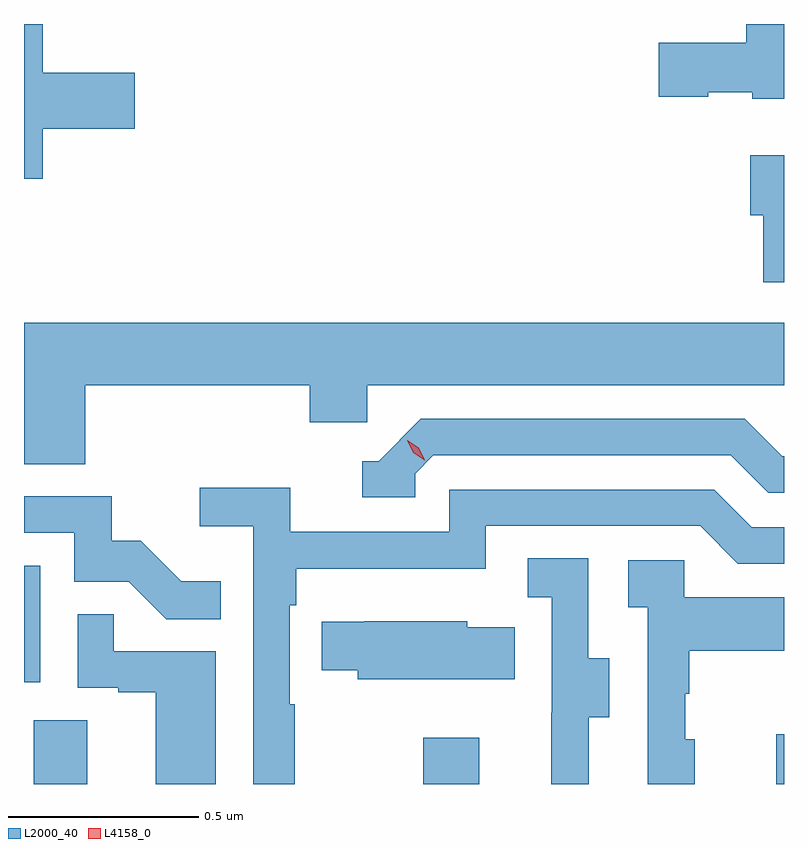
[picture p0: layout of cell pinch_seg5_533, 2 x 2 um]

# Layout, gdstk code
import gdstk
lib = gdstk.Library(unit=1e-6, precision=1e-09)
def R(c, l, rs):  # rectangles x0, y0, x1, y1
    for r in rs: c.add(gdstk.rectangle(r[:2], r[2:], *l))
def P(c, l, *ps):  # polygons
    for p in ps: c.add(gdstk.Polygon(p, *l))
L2000_40 = (2000, 40)
L4158_0 = (4158, 0)

pinch_seg5_533 = lib.new_cell('pinch_seg5_533')
R(pinch_seg5_533, L2000_40, [(886.079,851.714,886.219,851.882), (887.104,851.714,887.251,851.836), (888.032,851.714,888.053,851.845), (886.053,851.982,886.096,852.289)])
P(pinch_seg5_533, L2000_40, [(886.102,853.439),(886.345,853.439),(886.345,853.586),(886.102,853.586),(886.102,853.714),(886.053,853.714),(886.053,853.307),(886.102,853.307)],
  [(888.053,853.714),(887.954,853.714),(887.954,853.665),(887.724,853.665),(887.724,853.523),(887.853,853.523),(887.853,853.535),(887.97,853.535),(887.97,853.517),(888.053,853.517)],
  [(888.053,853.369),(887.964,853.369),(887.964,853.211),(887.998,853.211),(887.998,853.035),(888.053,853.035)],
  [(886.053,852.556),(886.214,852.556),(886.214,852.764),(886.805,852.764),(886.805,852.666),(886.956,852.666),(886.956,852.764),(888.053,852.764),(888.053,852.928),(886.053,852.928)],
  [(887.082,852.531),(887.13,852.579),(887.913,852.579),(888.012,852.48),(888.053,852.48),(888.053,852.576),(888.049,852.576),(887.95,852.675),(887.097,852.675),(886.986,852.564),(886.943,852.564),(886.943,852.468),(887.082,852.468)],
  [(886.765,851.924),(886.752,851.924),(886.752,852.185),(886.769,852.185),(886.769,852.281),(887.268,852.281),(887.268,852.393),(887.832,852.393),(887.931,852.294),(888.053,852.294),(888.053,852.39),(887.968,852.39),(887.869,852.489),(887.172,852.489),(887.172,852.378),(886.754,852.378),(886.754,852.494),(886.515,852.494),(886.515,852.392),(886.656,852.392),(886.656,851.714),(886.765,851.714)],
  [(886.571,852.247),(886.467,852.247),(886.36,852.354),(886.284,852.354),(886.284,852.471),(886.053,852.471),(886.053,852.375),(886.185,852.375),(886.185,852.246),(886.329,852.246),(886.427,852.148),(886.571,852.148)],
  [(887.539,851.89),(887.593,851.89),(887.593,852.045),(887.538,852.045),(887.538,852.308),(887.379,852.308),(887.379,852.205),(887.442,852.205),(887.442,851.901),(887.441,851.901),(887.441,851.714),(887.539,851.714)],
  [(887.818,851.832),(887.793,851.832),(887.793,851.951),(887.803,851.951),(887.803,852.065),(888.053,852.065),(888.053,852.205),(887.79,852.205),(887.79,852.303),(887.643,852.303),(887.643,852.179),(887.694,852.179),(887.694,851.714),(887.818,851.714)],
  [(886.558,852.063),(886.289,852.063),(886.289,852.161),(886.194,852.161),(886.194,851.967),(886.301,851.967),(886.301,851.955),(886.4,851.955),(886.4,851.714),(886.558,851.714)],
  [(887.345,852.127),(887.22,852.127),(887.22,852.142),(886.948,852.142),(886.948,852.141),(886.837,852.141),(886.837,852.013),(886.931,852.013),(886.931,851.99),(887.345,851.99)])
P(pinch_seg5_533, L4158_0, [(887.107,852.566),(887.077,852.586),(887.061,852.619),(887.061,852.619),(887.062,852.619),(887.092,852.599),(887.108,852.567),(887.108,852.566)])

lib.write_gds('pinch_seg5_533.gds')
